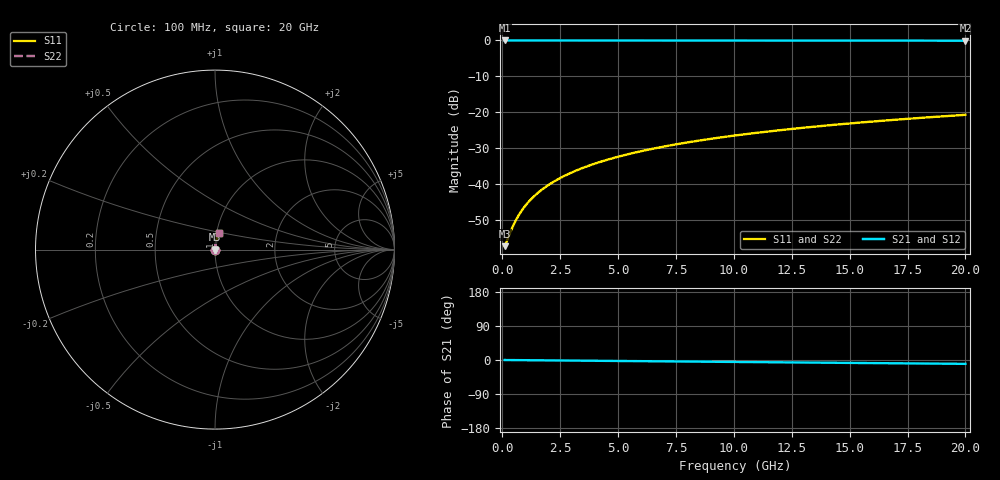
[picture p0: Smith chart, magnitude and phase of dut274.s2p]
! Touchstone file exported from HFSS 2026.1.0
!  File:  C:/ffzhzh/LocalFiles/Ansys_Project_Files/temp_train_TSV_274_1782993381_40604.aedt
!  Generated:  07:58:30 PM Jul  2, 2026
!  Design:  TSV
!  Project:  temp_train_TSV_274_1782993381_40604
! Variables:
!  h_bsmrdl = 2um
!  h_ox = 20um
!  h_rdl = 5um
!  h_sub = 90.05um
!  h_tmrdl = 5um
!  h_tsv = 90.05um
!  h_via = 3um
!  l_bsmrdl = 300um
!  l_sub = 405.68um
!  l_tmrdl = 200um
!  m_sub = 200um
!  pitch = 30.11um
!  r_tsv = 2.84um
!  s_tmrdl = 10um
!  w_bsmrdl = 18um
!  w_sub = 500um
!  w_tmrdl = 12um
!  x_tsv_center1 = 206um
!  x_tsv_center2 = 524um
!  x_tsv_center3 = 736um
!  x_tsv_center4 = 1054um
!  x_tsv_center5 = 1266um
!  x_tsv_center6 = 1584um
# GHz S MA R 50.000000
! Terminal data exported
! Port[1] = TSV1_1_T1
! Port[2] = TSV1_1_T2
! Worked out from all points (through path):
!   200 points, 100 MHz to 20 GHz, reference 50 ohm
!   highest |S21| = -0.01 dB at 100 MHz (marker M1); lowest = -0.1 dB at 20 GHz (marker M2)
!   group delay of S21, straight-line fit = 1.41 ps
!   lowest |S11| = -57.2 dB at 100 MHz (marker M3), VSWR 1.00, Z = 50.1 + j0.0499 ohm
!   |S11| at or under -10 dB: start of sweep to end of sweep
!   |S22| runs from -57.2 to -20.7 dB; largest |S21 - S12| = 3.1e-15
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0.1  0.001386 21.1  0.9987 -0.1  0.9987 -0.1  0.001386 21.1
! Gamma 0 0 0 0
! Port Impedance 50 0 50 0
0.2  0.001638 37.4  0.9987 -0.1  0.9987 -0.1  0.001638 37.4
0.4  0.002378 56.1  0.9987 -0.2  0.9987 -0.2  0.002378 56.1
0.5  0.002801 61.4  0.9987 -0.3  0.9987 -0.3  0.002801 61.4
0.7  0.003691 68.3  0.9987 -0.4  0.9987 -0.4  0.003691 68.3
0.8  0.004149 70.6  0.9986 -0.4  0.9986 -0.4  0.004149 70.6
1  0.00508 73.9  0.9986 -0.5  0.9986 -0.5  0.00508 73.9
1.3  0.006497 77.0  0.9986 -0.7  0.9986 -0.7  0.006497 77.0
1.7  0.008407 79.4  0.9986 -0.9  0.9986 -0.9  0.008407 79.4
2.2  0.01081 81.1  0.9985 -1.1  0.9985 -1.1  0.01081 81.1
2.8  0.01369 82.2  0.9984 -1.5  0.9984 -1.5  0.01369 82.2
3.5  0.01705 82.8  0.9982 -1.8  0.9982 -1.8  0.01705 82.8
4.2  0.0204 83.0  0.9981 -2.2  0.9981 -2.2  0.0204 83.0
5  0.02421 83.1  0.9979 -2.6  0.9979 -2.6  0.02421 83.1
5.9  0.02847 82.9  0.9976 -3.1  0.9976 -3.1  0.02847 82.9
6.8  0.0327 82.7  0.9973 -3.5  0.9973 -3.5  0.0327 82.7
8.3  0.0397 82.2  0.9968 -4.3  0.9968 -4.3  0.0397 82.2
10.1  0.048 81.6  0.9961 -5.2  0.9961 -5.2  0.048 81.6
11.7  0.05532 80.9  0.9955 -6.0  0.9955 -6.0  0.05532 80.9
13.4  0.06304 80.2  0.9948 -6.9  0.9948 -6.9  0.06304 80.2
16.7  0.07789 78.8  0.9933 -8.5  0.9933 -8.5  0.07789 78.8
20  0.09258 77.4  0.9917 -10.2  0.9917 -10.2  0.09258 77.4
